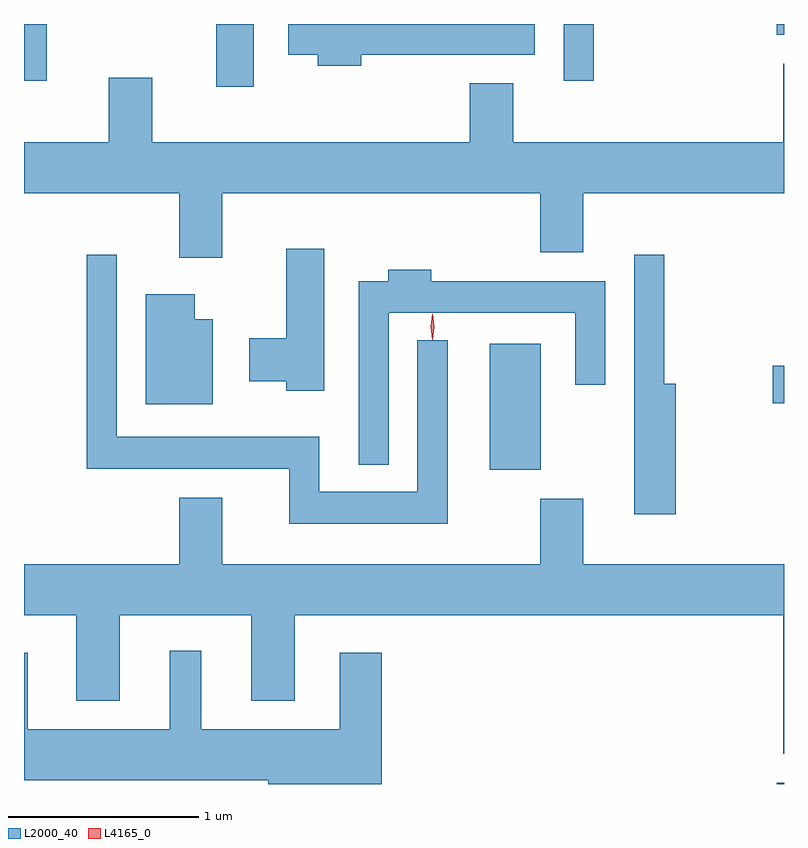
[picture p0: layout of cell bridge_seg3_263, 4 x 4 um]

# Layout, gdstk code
import gdstk
lib = gdstk.Library(unit=1e-6, precision=1e-09)
def R(c, l, rs):  # rectangles x0, y0, x1, y1
    for r in rs: c.add(gdstk.rectangle(r[:2], r[2:], *l))
def P(c, l, *ps):  # polygons
    for p in ps: c.add(gdstk.Polygon(p, *l))
L2000_40 = (2000, 40)
L4165_0 = (4165, 0)

bridge_seg3_263 = lib.new_cell('bridge_seg3_263')
R(bridge_seg3_263, L2000_40, [(1079.606,1140.667,1079.645,1140.674), (1078.096,1142.321,1078.364,1142.984), (1079.586,1142.671,1079.645,1142.869), (1076.656,1144.336,1076.854,1144.667), (1075.645,1144.368,1075.764,1144.667), (1078.486,1144.368,1078.644,1144.667), (1079.606,1144.611,1079.645,1144.667)])
P(bridge_seg3_263, L2000_40, [(1077.419,1144.506),(1078.334,1144.506),(1078.334,1144.667),(1077.036,1144.667),(1077.036,1144.506),(1077.191,1144.506),(1077.191,1144.446),(1077.419,1144.446)],
  [(1076.689,1143.776),(1078.361,1143.776),(1078.361,1143.466),(1078.589,1143.466),(1078.589,1143.776),(1079.645,1143.776),(1079.645,1144.459),(1079.641,1144.459),(1079.641,1144.044),(1078.219,1144.044),(1078.219,1144.354),(1077.991,1144.354),(1077.991,1144.044),(1076.319,1144.044),(1076.319,1144.384),(1076.091,1144.384),(1076.091,1144.044),(1075.645,1144.044),(1075.645,1143.776),(1076.461,1143.776),(1076.461,1143.436),(1076.689,1143.436)],
  [(1077.224,1143.484),(1077.026,1143.484),(1077.026,1143.014),(1076.831,1143.014),(1076.831,1142.786),(1077.026,1142.786),(1077.026,1142.736),(1077.224,1142.736)],
  [(1079.074,1142.774),(1079.014,1142.774),(1079.014,1143.453),(1078.856,1143.453),(1078.856,1142.086),(1079.074,1142.086)],
  [(1077.874,1143.003),(1077.716,1143.003),(1077.716,1142.204),(1077.199,1142.204),(1077.199,1142.494),(1076.134,1142.494),(1076.134,1143.453),(1075.976,1143.453),(1075.976,1142.326),(1077.041,1142.326),(1077.041,1142.036),(1077.874,1142.036)],
  [(1077.564,1143.146),(1078.546,1143.146),(1078.546,1142.768),(1078.704,1142.768),(1078.704,1143.314),(1077.789,1143.314),(1077.789,1143.374),(1077.561,1143.374),(1077.561,1143.314),(1077.406,1143.314),(1077.406,1142.348),(1077.564,1142.348)],
  [(1076.639,1143.114),(1076.544,1143.114),(1076.544,1143.244),(1076.286,1143.244),(1076.286,1142.666),(1076.639,1142.666)],
  [(1079.645,1141.824),(1078.589,1141.824),(1078.589,1142.169),(1078.361,1142.169),(1078.361,1141.824),(1076.689,1141.824),(1076.689,1142.174),(1076.461,1142.174),(1076.461,1141.824),(1075.645,1141.824),(1075.645,1141.556),(1075.921,1141.556),(1075.921,1141.106),(1076.149,1141.106),(1076.149,1141.556),(1076.841,1141.556),(1076.841,1141.106),(1077.069,1141.106),(1077.069,1141.556),(1079.641,1141.556),(1079.641,1140.826),(1079.645,1140.826)],
  [(1077.529,1141.359),(1077.306,1141.359),(1077.306,1140.954),(1076.579,1140.954),(1076.579,1141.368),(1076.411,1141.368),(1076.411,1140.954),(1075.664,1140.954),(1075.664,1141.359),(1075.645,1141.359),(1075.645,1140.686),(1076.931,1140.686),(1076.931,1140.667),(1077.529,1140.667)])
P(bridge_seg3_263, L4165_0, [(1077.794,1143.007),(1077.785,1143.074),(1077.794,1143.14),(1077.795,1143.141),(1077.795,1143.14),(1077.805,1143.074),(1077.795,1143.007),(1077.795,1143.007)],
  [(1077.794,1143.004),(1077.785,1143.073),(1077.795,1143.142),(1077.795,1143.143),(1077.796,1143.142),(1077.805,1143.073),(1077.795,1143.004),(1077.795,1143.004)])

lib.write_gds('bridge_seg3_263.gds')
